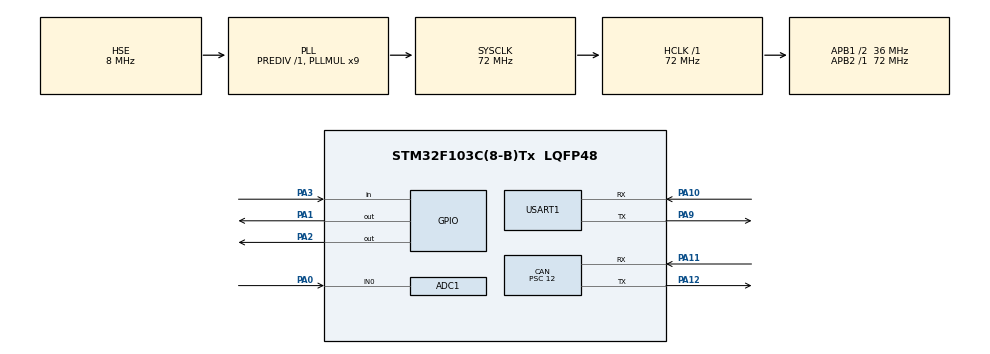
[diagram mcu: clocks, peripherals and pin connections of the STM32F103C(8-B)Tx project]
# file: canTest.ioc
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ADC1.Channel-6\#ChannelRegularConversion=ADC_CHANNEL_0
ADC1.NbrOfConversionFlag=1
ADC1.Rank-6\#ChannelRegularConversion=1
ADC1.SamplingTime-6\#ChannelRegularConversion=ADC_SAMPLETIME_1CYCLE_5
ADC1.master=1
CAN.BS1=CAN_BS1_3TQ
CAN.BS2=CAN_BS2_2TQ
CAN.CalculateTimeBit=2000
CAN.CalculateTimeQuantum=333.33333333333337
CAN.NART=DISABLE
CAN.Prescaler=12
CAN.SJW=CAN_SJW_2TQ
Dma.Request0=USART1_TX
Dma.USART1_TX.0.Direction=DMA_MEMORY_TO_PERIPH
Dma.USART1_TX.0.Instance=DMA1_Channel4
Dma.USART1_TX.0.MemDataAlignment=DMA_MDATAALIGN_BYTE
Dma.USART1_TX.0.MemInc=DMA_MINC_ENABLE
Dma.USART1_TX.0.Mode=DMA_NORMAL
Dma.USART1_TX.0.PeriphDataAlignment=DMA_PDATAALIGN_BYTE
Dma.USART1_TX.0.PeriphInc=DMA_PINC_DISABLE
Dma.USART1_TX.0.Priority=DMA_PRIORITY_LOW
Mcu.Family=STM32F1
Mcu.Name=STM32F103C(8-B)Tx
Mcu.Package=LQFP48
NVIC.CAN1_RX1_IRQn=true\:0\:0\:false\:false\:true\:true
NVIC.DMA1_Channel4_IRQn=true\:0\:0\:false\:false\:true\:false
NVIC.PriorityGroup=NVIC_PRIORITYGROUP_4
NVIC.TIM2_IRQn=true\:0\:0\:false\:false\:true\:true
NVIC.USART1_IRQn=true\:0\:0\:false\:false\:true\:true
NVIC.USB_HP_CAN1_TX_IRQn=true\:0\:0\:false\:false\:true\:true
NVIC.USB_LP_CAN1_RX0_IRQn=true\:0\:0\:false\:false\:true\:true
PA0-WKUP.Signal=ADCx_IN0
PA1.Signal=GPIO_Output
PA10.Mode=Asynchronous
PA10.Signal=USART1_RX
PA11.Mode=Master
PA11.Signal=CAN_RX
PA12.Mode=Master
PA12.Signal=CAN_TX
PA13.Mode=Serial_Wire
PA13.Signal=SYS_JTMS-SWDIO
PA14.Mode=Serial_Wire
PA14.Signal=SYS_JTCK-SWCLK
PA2.Signal=GPIO_Output
PA3.GPIO_PuPd=GPIO_PULLDOWN
PA3.Signal=GPIO_Input
PA9.Mode=Asynchronous
PA9.Signal=USART1_TX
PD0-OSC_IN.Mode=HSE-External-Oscillator
PD0-OSC_IN.Signal=RCC_OSC_IN
PD1-OSC_OUT.Mode=HSE-External-Oscillator
PD1-OSC_OUT.Signal=RCC_OSC_OUT
ProjectManager.HeapSize=0x200
ProjectManager.StackSize=0x400
ProjectManager.TargetToolchain=MDK-ARM V5
RCC.ADCPresc=RCC_ADCPCLK2_DIV6
RCC.AHBFreq_Value=72000000
RCC.APB1CLKDivider=RCC_HCLK_DIV2
RCC.APB1Freq_Value=36000000
RCC.APB1TimFreq_Value=72000000
RCC.APB2Freq_Value=72000000
RCC.APB2TimFreq_Value=72000000
RCC.HCLKFreq_Value=72000000
RCC.PLLMUL=RCC_PLL_MUL9
RCC.PLLSourceVirtual=RCC_PLLSOURCE_HSE
RCC.SYSCLKFreq_VALUE=72000000
RCC.SYSCLKSource=RCC_SYSCLKSOURCE_PLLCLK
RCC.USBFreq_Value=72000000
SH.ADCx_IN0.0=ADC1_IN0,IN0
TIM2.Period=35999
TIM2.Prescaler=1
USART1.VirtualMode=VM_ASYNC
VP_TIM2_VS_ClockSourceINT.Mode=Internal
board=custom

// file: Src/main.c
/* USER CODE BEGIN Header */
/**
  ******************************************************************************
  * @file           : main.c
  * @brief          : Main program body
  ******************************************************************************
  ** This notice applies to any and all portions of this file
  * that are not between comment pairs USER CODE BEGIN and
  * USER CODE END. Other portions of this file, whether
  * inserted by the user or by software development tools
  * are owned by their respective copyright owners.
  *
  * COPYRIGHT(c) 2018 STMicroelectronics
  *
  * Redistribution and use in source and binary forms, with or without modification,
  * are permitted provided that the following conditions are met:
  *   1. Redistributions of source code must retain the above copyright notice,
  *      this list of conditions and the following disclaimer.
  *   2. Redistributions in binary form must reproduce the above copyright notice,
  *      this list of conditions and the following disclaimer in the documentation
  *      and/or other materials provided with the distribution.
  *   3. Neither the name of STMicroelectronics nor the names of its contributors
  *      may be used to endorse or promote products derived from this software
  *      without specific prior written permission.
  *
  * THIS SOFTWARE IS PROVIDED BY THE COPYRIGHT HOLDERS AND CONTRIBUTORS "AS IS"
  * AND ANY EXPRESS OR IMPLIED WARRANTIES, INCLUDING, BUT NOT LIMITED TO, THE
  * IMPLIED WARRANTIES OF MERCHANTABILITY AND FITNESS FOR A PARTICULAR PURPOSE ARE
  * DISCLAIMED. IN NO EVENT SHALL THE COPYRIGHT HOLDER OR CONTRIBUTORS BE LIABLE
  * FOR ANY DIRECT, INDIRECT, INCIDENTAL, SPECIAL, EXEMPLARY, OR CONSEQUENTIAL
  * DAMAGES (INCLUDING, BUT NOT LIMITED TO, PROCUREMENT OF SUBSTITUTE GOODS OR
  * SERVICES; LOSS OF USE, DATA, OR PROFITS; OR BUSINESS INTERRUPTION) HOWEVER
  * CAUSED AND ON ANY THEORY OF LIABILITY, WHETHER IN CONTRACT, STRICT LIABILITY,
  * OR TORT (INCLUDING NEGLIGENCE OR OTHERWISE) ARISING IN ANY WAY OUT OF THE USE
  * OF THIS SOFTWARE, EVEN IF ADVISED OF THE POSSIBILITY OF SUCH DAMAGE.
  *
  ******************************************************************************
  */
/* USER CODE END Header */

#include "main.h"

/* USER CODE BEGIN Includes */
#include "stdio.h"
#include "string.h"
/* USER CODE END Includes */

ADC_HandleTypeDef hadc1;

CAN_HandleTypeDef hcan;

TIM_HandleTypeDef htim2;

UART_HandleTypeDef huart1;
DMA_HandleTypeDef hdma_usart1_tx;

void SystemClock_Config(void);
static void MX_GPIO_Init(void);
static void MX_DMA_Init(void);
static void MX_CAN_Init(void);
static void MX_USART1_UART_Init(void);
static void MX_ADC1_Init(void);
static void MX_TIM2_Init(void);

/* USER CODE BEGIN 0 */
CAN_RxHeaderTypeDef RMess;
CAN_TxHeaderTypeDef TMess;
uint8_t TxData[8] = {0};
uint32_t TxMailBox;
char str[64];
uint8_t canDat;
uint8_t a = 123;
HAL_StatusTypeDef canret;
uint32_t adc_val=0;
volatile int RX_FLAG=0, state=0;
extern volatile int TIM_FLAG;

union{
	struct{
	int16_t angOut;
	}Data;
	uint8_t buffer[2];
}CAN_OUT_ANG_PACK;

union{
	struct{
	int32_t enc;
	int16_t force;
	}Data;
	uint8_t buffer[6];
}CAN_IN_SIG_PACK;

union{
	struct{
	int8_t header1;
	int8_t header2;
	int32_t enc;
	int32_t frc;
	}Data;
	uint8_t buffer[12];
}Telem;

/* USER CODE END 0 */

int main(void)
{
  /* USER CODE BEGIN 1 */
	TMess.RTR = CAN_RTR_DATA;
  TMess.IDE = CAN_ID_STD;
  TMess.DLC = 0x2;
	TMess.StdId=0x1;
	TMess.TransmitGlobalTime = DISABLE;
	uint32_t Last_Time=0;
	int cnt=0;
  /* USER CODE END 1 */

  /* MCU Configuration--------------------------------------------------------*/

  /* Reset of all peripherals, Initializes the Flash interface and the Systick. */
  HAL_Init();

  /* Configure the system clock */
  SystemClock_Config();

  /* Initialize all configured peripherals */
  MX_GPIO_Init();
  MX_DMA_Init();
  MX_CAN_Init();
  MX_USART1_UART_Init();
  MX_ADC1_Init();
  MX_TIM2_Init();
  /* USER CODE BEGIN 2 */
	sprintf(str, "%d\n\r" , a);
	HAL_TIM_Base_Start_IT(&htim2);
	Last_Time = HAL_GetTick();
	Telem.Data.header1='a';
		Telem.Data.header2='b';
  /* USER CODE END 2 */

  /* Infinite loop */
  /* USER CODE BEGIN WHILE */
  while (1)
  {
		if(TIM_FLAG==1){
			switch(state){
				case 0:
					TMess.DLC=0x0;
					TMess.StdId=0x1;
					if(HAL_CAN_AddTxMessage(&hcan, &TMess, 0, &TxMailBox)!=HAL_OK){Error_Handler();}
					state=1;
					Last_Time = HAL_GetTick();
					break;

				case 1:
					if(RX_FLAG==1){
						// Received Output From Slave
						//sprintf(str, "ENC:%d\tFrc:%d\r\n", CAN_IN_SIG_PACK.Data.enc, CAN_IN_SIG_PACK.Data.force);
						//HAL_UART_Transmit(&huart1, str, sizeof(str), 100);
						Telem.Data.enc = CAN_IN_SIG_PACK.Data.enc;
						Telem.Data.frc =(int32_t) (CAN_IN_SIG_PACK.Data.force);
					  cnt++;
						if (cnt>19){
							HAL_UART_Transmit_DMA(&huart1, Telem.buffer, sizeof(Telem.buffer));
							cnt=0;
						}
						RX_FLAG=0;
						state=2;
					}
					else{
						state=1;
						if(HAL_GetTick() - Last_Time>100){
							state=0;
						}
					}
					break;

				case 2:
						TMess.DLC=0x2;
						TMess.StdId=0x2;
						// Sending the control command
						CAN_OUT_ANG_PACK.Data.angOut=2048*HAL_GPIO_ReadPin(GPIOA, GPIO_PIN_3);
						if(HAL_CAN_AddTxMessage(&hcan, &TMess,CAN_OUT_ANG_PACK.buffer, &TxMailBox)!=HAL_OK){Error_Handler();}
						state=0;
						TIM_FLAG=0;
						break;
				default:
					state=0;
		}
}
    /* USER CODE END WHILE */

  }
}

void SystemClock_Config(void)
{
  RCC_OscInitTypeDef RCC_OscInitStruct = {0};
  RCC_ClkInitTypeDef RCC_ClkInitStruct = {0};
  RCC_PeriphCLKInitTypeDef PeriphClkInit = {0};

  /**Initializes the CPU, AHB and APB busses clocks
  */
  RCC_OscInitStruct.OscillatorType = RCC_OSCILLATORTYPE_HSE;
  RCC_OscInitStruct.HSEState = RCC_HSE_ON;
  RCC_OscInitStruct.HSEPredivValue = RCC_HSE_PREDIV_DIV1;
  RCC_OscInitStruct.HSIState = RCC_HSI_ON;
  RCC_OscInitStruct.PLL.PLLState = RCC_PLL_ON;
  RCC_OscInitStruct.PLL.PLLSource = RCC_PLLSOURCE_HSE;
  RCC_OscInitStruct.PLL.PLLMUL = RCC_PLL_MUL9;
  if (HAL_RCC_OscConfig(&RCC_OscInitStruct) != HAL_OK)
  {
    Error_Handler();
  }
  /**Initializes the CPU, AHB and APB busses clocks
  */
  RCC_ClkInitStruct.ClockType = RCC_CLOCKTYPE_HCLK|RCC_CLOCKTYPE_SYSCLK
                              |RCC_CLOCKTYPE_PCLK1|RCC_CLOCKTYPE_PCLK2;
  RCC_ClkInitStruct.SYSCLKSource = RCC_SYSCLKSOURCE_PLLCLK;
  RCC_ClkInitStruct.AHBCLKDivider = RCC_SYSCLK_DIV1;
  RCC_ClkInitStruct.APB1CLKDivider = RCC_HCLK_DIV2;
  RCC_ClkInitStruct.APB2CLKDivider = RCC_HCLK_DIV1;

  if (HAL_RCC_ClockConfig(&RCC_ClkInitStruct, FLASH_LATENCY_2) != HAL_OK)
  {
    Error_Handler();
  }
  PeriphClkInit.PeriphClockSelection = RCC_PERIPHCLK_ADC;
  PeriphClkInit.AdcClockSelection = RCC_ADCPCLK2_DIV6;
  if (HAL_RCCEx_PeriphCLKConfig(&PeriphClkInit) != HAL_OK)
  {
    Error_Handler();
  }
}

static void MX_ADC1_Init(void)
{

  ADC_ChannelConfTypeDef sConfig = {0};

  /**Common config
  */
  hadc1.Instance = ADC1;
  hadc1.Init.ScanConvMode = ADC_SCAN_DISABLE;
  hadc1.Init.ContinuousConvMode = DISABLE;
  hadc1.Init.DiscontinuousConvMode = DISABLE;
  hadc1.Init.ExternalTrigConv = ADC_SOFTWARE_START;
  hadc1.Init.DataAlign = ADC_DATAALIGN_RIGHT;
  hadc1.Init.NbrOfConversion = 1;
  if (HAL_ADC_Init(&hadc1) != HAL_OK)
  {
    Error_Handler();
  }
  /**Configure Regular Channel
  */
  sConfig.Channel = ADC_CHANNEL_0;
  sConfig.Rank = ADC_REGULAR_RANK_1;
  sConfig.SamplingTime = ADC_SAMPLETIME_1CYCLE_5;
  if (HAL_ADC_ConfigChannel(&hadc1, &sConfig) != HAL_OK)
  {
    Error_Handler();
  }

}

static void MX_CAN_Init(void)
{

  hcan.Instance = CAN1;
  hcan.Init.Prescaler = 12;
  hcan.Init.Mode = CAN_MODE_NORMAL;
  hcan.Init.SyncJumpWidth = CAN_SJW_2TQ;
  hcan.Init.TimeSeg1 = CAN_BS1_3TQ;
  hcan.Init.TimeSeg2 = CAN_BS2_2TQ;
  hcan.Init.TimeTriggeredMode = DISABLE;
  hcan.Init.AutoBusOff = DISABLE;
  hcan.Init.AutoWakeUp = DISABLE;
  hcan.Init.AutoRetransmission = DISABLE;
  hcan.Init.ReceiveFifoLocked = DISABLE;
  hcan.Init.TransmitFifoPriority = DISABLE;
  if (HAL_CAN_Init(&hcan) != HAL_OK)
  {
    Error_Handler();
  }
  /* USER CODE BEGIN CAN_Init 2 */
	CAN_FilterTypeDef  sFilterConfig;
	sFilterConfig.FilterBank = 0;
  sFilterConfig.FilterMode = CAN_FILTERMODE_IDMASK;
  sFilterConfig.FilterScale = CAN_FILTERSCALE_32BIT;
  sFilterConfig.FilterIdHigh = 0x0000;
  sFilterConfig.FilterIdLow = 0x0000;
  sFilterConfig.FilterMaskIdHigh = 0x0000;
  sFilterConfig.FilterMaskIdLow = 0x0000;
  sFilterConfig.FilterFIFOAssignment = CAN_RX_FIFO0;
  sFilterConfig.FilterActivation = ENABLE;

	/*
	CAN_FilterTypeDef  sFilterConfig1;
	sFilterConfig.FilterBank = 0;
  sFilterConfig.FilterMode = CAN_FILTERMODE_IDMASK;
  sFilterConfig.FilterScale = CAN_FILTERSCALE_32BIT;
  sFilterConfig.FilterIdHigh = 0x0000;
  sFilterConfig.FilterIdLow = 2000;
  sFilterConfig.FilterMaskIdHigh = 0x0000;
  sFilterConfig.FilterMaskIdLow = 0x0000;
  sFilterConfig.FilterFIFOAssignment = CAN_RX_FIFO0;
  sFilterConfig.FilterActivation = ENABLE;
  sFilterConfig.SlaveStartFilterBank = 14;
	*/
	if (HAL_CAN_ConfigFilter(&hcan, &sFilterConfig) != HAL_OK)
  {
    Error_Handler();
  }
	if (HAL_CAN_Start(&hcan) != HAL_OK)
  {
    Error_Handler();
  }
	if (HAL_CAN_ActivateNotification(&hcan, CAN_IT_RX_FIFO0_MSG_PENDING) != HAL_OK)
  {
    Error_Handler();
  }
  /* USER CODE END CAN_Init 2 */

}

static void MX_TIM2_Init(void)
{

  TIM_ClockConfigTypeDef sClockSourceConfig = {0};
  TIM_MasterConfigTypeDef sMasterConfig = {0};

  htim2.Instance = TIM2;
  htim2.Init.Prescaler = 0;
  htim2.Init.CounterMode = TIM_COUNTERMODE_UP;
  htim2.Init.Period = 35999;
  htim2.Init.ClockDivision = TIM_CLOCKDIVISION_DIV1;
  htim2.Init.AutoReloadPreload = TIM_AUTORELOAD_PRELOAD_DISABLE;
  if (HAL_TIM_Base_Init(&htim2) != HAL_OK)
  {
    Error_Handler();
  }
  sClockSourceConfig.ClockSource = TIM_CLOCKSOURCE_INTERNAL;
  if (HAL_TIM_ConfigClockSource(&htim2, &sClockSourceConfig) != HAL_OK)
  {
    Error_Handler();
  }
  sMasterConfig.MasterOutputTrigger = TIM_TRGO_RESET;
  sMasterConfig.MasterSlaveMode = TIM_MASTERSLAVEMODE_DISABLE;
  if (HAL_TIMEx_MasterConfigSynchronization(&htim2, &sMasterConfig) != HAL_OK)
  {
    Error_Handler();
  }

}

static void MX_USART1_UART_Init(void)
{

  huart1.Instance = USART1;
  huart1.Init.BaudRate = 115200;
  huart1.Init.WordLength = UART_WORDLENGTH_8B;
  huart1.Init.StopBits = UART_STOPBITS_1;
  huart1.Init.Parity = UART_PARITY_NONE;
  huart1.Init.Mode = UART_MODE_TX_RX;
  huart1.Init.HwFlowCtl = UART_HWCONTROL_NONE;
  huart1.Init.OverSampling = UART_OVERSAMPLING_16;
  if (HAL_UART_Init(&huart1) != HAL_OK)
  {
    Error_Handler();
  }

}

static void MX_DMA_Init(void)
{
  /* DMA controller clock enable */
  __HAL_RCC_DMA1_CLK_ENABLE();

  /* DMA interrupt init */
  /* DMA1_Channel4_IRQn interrupt configuration */
  HAL_NVIC_SetPriority(DMA1_Channel4_IRQn, 0, 0);
  HAL_NVIC_EnableIRQ(DMA1_Channel4_IRQn);

}

static void MX_GPIO_Init(void)
{
  GPIO_InitTypeDef GPIO_InitStruct = {0};

  /* GPIO Ports Clock Enable */
  __HAL_RCC_GPIOD_CLK_ENABLE();
  __HAL_RCC_GPIOA_CLK_ENABLE();

  /*Configure GPIO pin Output Level */
  HAL_GPIO_WritePin(GPIOA, GPIO_PIN_1|GPIO_PIN_2, GPIO_PIN_RESET);

  /*Configure GPIO pins : PA1 PA2 */
  GPIO_InitStruct.Pin = GPIO_PIN_1|GPIO_PIN_2;
  GPIO_InitStruct.Mode = GPIO_MODE_OUTPUT_PP;
  GPIO_InitStruct.Pull = GPIO_NOPULL;
  GPIO_InitStruct.Speed = GPIO_SPEED_FREQ_LOW;
  HAL_GPIO_Init(GPIOA, &GPIO_InitStruct);

  /*Configure GPIO pin : PA3 */
  GPIO_InitStruct.Pin = GPIO_PIN_3;
  GPIO_InitStruct.Mode = GPIO_MODE_INPUT;
  GPIO_InitStruct.Pull = GPIO_PULLDOWN;
  HAL_GPIO_Init(GPIOA, &GPIO_InitStruct);

}

/* USER CODE BEGIN 4 */
void HAL_CAN_RxFifo0MsgPendingCallback(CAN_HandleTypeDef *hcan)
{
	uint8_t canData[8];
  if (HAL_CAN_GetRxMessage(hcan, CAN_RX_FIFO0, &RMess, canData) != HAL_OK)
  {
    Error_Handler();
  }

	if((RMess.StdId==0x1)&&(RMess.IDE==CAN_ID_STD)){
		RX_FLAG=1;
		memcpy(CAN_IN_SIG_PACK.buffer,canData,6);
		//HAL_GPIO_WritePin(GPIOA, GPIO_PIN_2, !HAL_GPIO_ReadPin(GPIOA, GPIO_PIN_2));
	}

	/*
	if ((RMess.StdId == 0x321) && (RMess.IDE == CAN_ID_STD)){
		if(canDat>100){HAL_GPIO_WritePin(GPIOA, GPIO_PIN_1, GPIO_PIN_SET);}
		else{HAL_GPIO_WritePin(GPIOA, GPIO_PIN_1, GPIO_PIN_RESET);}
		HAL_ADC_Start(&hadc1);
		if (HAL_ADC_PollForConversion(&hadc1, 10)){
			adc_val = HAL_ADC_GetValue(&hadc1);
			HAL_ADC_Stop(&hadc1);
		}
		TxData = adc_val;
		if (HAL_CAN_AddTxMessage(hcan, &TMess, &TxData, &TxMailBox) != HAL_OK){Error_Handler();}
		*/
		/*
		sprintf(str, "%d\n\r" , canDat);
		HAL_UART_Transmit(&huart1, str, sizeof(str), 1000);
		}
		*/
}
/* USER CODE END 4 */

void Error_Handler(void)
{
}

/************************ (C) COPYRIGHT STMicroelectronics *****END OF FILE****/
